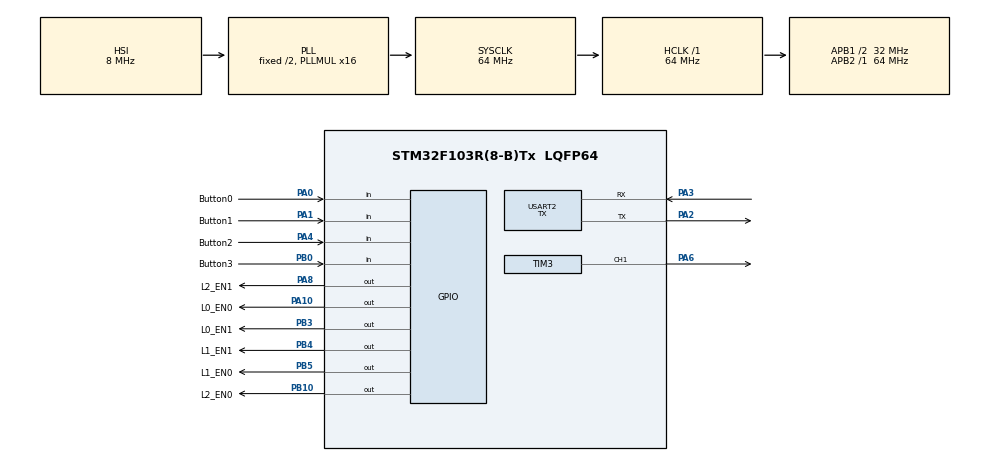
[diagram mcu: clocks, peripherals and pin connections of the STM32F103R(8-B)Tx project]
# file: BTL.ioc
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Mcu.Family=STM32F1
Mcu.Name=STM32F103R(8-B)Tx
Mcu.Package=LQFP64
NVIC.PriorityGroup=NVIC_PRIORITYGROUP_4
NVIC.TIM2_IRQn=true\:0\:0\:false\:false\:true\:true\:true\:true
PA0-WKUP.GPIO_Label=Button0
PA0-WKUP.GPIO_PuPd=GPIO_PULLUP
PA0-WKUP.Signal=GPIO_Input
PA1.GPIO_Label=Button1
PA1.GPIO_PuPd=GPIO_PULLUP
PA1.Signal=GPIO_Input
PA10.GPIO_Label=L0_EN0
PA10.Signal=GPIO_Output
PA13.Mode=Serial_Wire
PA13.Signal=SYS_JTMS-SWDIO
PA14.Mode=Serial_Wire
PA14.Signal=SYS_JTCK-SWCLK
PA2.Mode=Asynchronous
PA2.Signal=USART2_TX
PA3.Mode=Asynchronous
PA3.Signal=USART2_RX
PA4.GPIO_Label=Button2
PA4.GPIO_PuPd=GPIO_PULLUP
PA4.Signal=GPIO_Input
PA6.Signal=S_TIM3_CH1
PA8.GPIO_Label=L2_EN1
PA8.Signal=GPIO_Output
PB0.GPIO_Label=Button3
PB0.GPIO_PuPd=GPIO_PULLUP
PB0.Signal=GPIO_Input
PB10.GPIO_Label=L2_EN0
PB10.Signal=GPIO_Output
PB3.GPIO_Label=L0_EN1
PB3.Signal=GPIO_Output
PB4.GPIO_Label=L1_EN1
PB4.Signal=GPIO_Output
PB5.GPIO_Label=L1_EN0
PB5.Signal=GPIO_Output
ProjectManager.HeapSize=0x200
ProjectManager.StackSize=0x400
ProjectManager.TargetToolchain=STM32CubeIDE
RCC.AHBFreq_Value=64000000
RCC.APB1CLKDivider=RCC_HCLK_DIV2
RCC.APB1Freq_Value=32000000
RCC.APB1TimFreq_Value=64000000
RCC.APB2Freq_Value=64000000
RCC.APB2TimFreq_Value=64000000
RCC.HCLKFreq_Value=64000000
RCC.PLLMUL=RCC_PLL_MUL16
RCC.SYSCLKFreq_VALUE=64000000
RCC.SYSCLKSource=RCC_SYSCLKSOURCE_PLLCLK
RCC.USBFreq_Value=64000000
SH.S_TIM3_CH1.0=TIM3_CH1,PWM Generation1 CH1
TIM2.Period=9999
TIM2.Prescaler=63
TIM3.Channel-PWM\ Generation1\ CH1=TIM_CHANNEL_1
TIM3.OC1Preload_PWM=ENABLE
TIM3.Period=4095
TIM3.Prescaler=63
USART2.Mode=MODE_TX
USART2.VirtualMode=VM_ASYNC
VP_TIM2_VS_ClockSourceINT.Mode=Internal
VP_TIM3_VS_ClockSourceINT.Mode=Internal
board=custom

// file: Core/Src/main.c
/* USER CODE BEGIN Header */
/**
 ******************************************************************************
 * @file           : main.c
 * @brief          : Main program body
 ******************************************************************************
 * @attention
 *
 * <h2><center>&copy; Copyright (c) 2022 STMicroelectronics.
 * All rights reserved.</center></h2>
 *
 * This software component is licensed by ST under BSD 3-Clause license,
 * the "License"; You may not use this file except in compliance with the
 * License. You may obtain a copy of the License at:
 *                        opensource.org/licenses/BSD-3-Clause
 *
 ******************************************************************************
 */
/* USER CODE END Header */
#include "main.h"

/* USER CODE BEGIN Includes */
#include "global.h"
#include "fsm_automatic.h"
#include "fsm_manual.h"
#include "pedestrian.h"
/* USER CODE END Includes */

TIM_HandleTypeDef htim2;
TIM_HandleTypeDef htim3;

UART_HandleTypeDef huart2;

void SystemClock_Config(void);
static void MX_GPIO_Init(void);
static void MX_TIM2_Init(void);
static void MX_USART2_UART_Init(void);
static void MX_TIM3_Init(void);

/* USER CODE BEGIN 0 */

//UART !7SEG:XX#

void testIO() {
	for (int i = 0; i < 4; i++) {
//		if (isButtonPressed(i)) {
//			HAL_GPIO_TogglePin(L2_EN1_GPIO_Port, L2_EN1_Pin);
//		}
		if(isButtonPressed1s(i)){
			HAL_GPIO_TogglePin(L2_EN0_GPIO_Port, L2_EN0_Pin);
		}
	}
}
/* USER CODE END 0 */

int main(void)
{

  /* MCU Configuration--------------------------------------------------------*/

  /* Reset of all peripherals, Initializes the Flash interface and the Systick. */
  HAL_Init();

  /* Configure the system clock */
  SystemClock_Config();

  /* Initialize all configured peripherals */
  MX_GPIO_Init();
  MX_TIM2_Init();
  MX_USART2_UART_Init();
  MX_TIM3_Init();
  /* USER CODE BEGIN 2 */
  HAL_TIM_Base_Start_IT(&htim2);
  HAL_TIM_PWM_Start(&htim3, TIM_CHANNEL_1);
  /* USER CODE END 2 */

  /* Infinite loop */
  /* USER CODE BEGIN WHILE */
  setTimer1(50);
	while (1) {
		fsm1_automatic_run();
		fsm2_automatic_run();
		fsm_modify_timer_control();
		fsm_pedestrian();
    /* USER CODE END WHILE */

	}
}

void SystemClock_Config(void)
{
  RCC_OscInitTypeDef RCC_OscInitStruct = {0};
  RCC_ClkInitTypeDef RCC_ClkInitStruct = {0};

  /** Initializes the RCC Oscillators according to the specified parameters
  * in the RCC_OscInitTypeDef structure.
  */
  RCC_OscInitStruct.OscillatorType = RCC_OSCILLATORTYPE_HSI;
  RCC_OscInitStruct.HSIState = RCC_HSI_ON;
  RCC_OscInitStruct.HSICalibrationValue = RCC_HSICALIBRATION_DEFAULT;
  RCC_OscInitStruct.PLL.PLLState = RCC_PLL_ON;
  RCC_OscInitStruct.PLL.PLLSource = RCC_PLLSOURCE_HSI_DIV2;
  RCC_OscInitStruct.PLL.PLLMUL = RCC_PLL_MUL16;
  if (HAL_RCC_OscConfig(&RCC_OscInitStruct) != HAL_OK)
  {
    Error_Handler();
  }

  /** Initializes the CPU, AHB and APB buses clocks
  */
  RCC_ClkInitStruct.ClockType = RCC_CLOCKTYPE_HCLK|RCC_CLOCKTYPE_SYSCLK
                              |RCC_CLOCKTYPE_PCLK1|RCC_CLOCKTYPE_PCLK2;
  RCC_ClkInitStruct.SYSCLKSource = RCC_SYSCLKSOURCE_PLLCLK;
  RCC_ClkInitStruct.AHBCLKDivider = RCC_SYSCLK_DIV1;
  RCC_ClkInitStruct.APB1CLKDivider = RCC_HCLK_DIV2;
  RCC_ClkInitStruct.APB2CLKDivider = RCC_HCLK_DIV1;

  if (HAL_RCC_ClockConfig(&RCC_ClkInitStruct, FLASH_LATENCY_2) != HAL_OK)
  {
    Error_Handler();
  }
}

static void MX_TIM2_Init(void)
{

  TIM_ClockConfigTypeDef sClockSourceConfig = {0};
  TIM_MasterConfigTypeDef sMasterConfig = {0};

  htim2.Instance = TIM2;
  htim2.Init.Prescaler = 63;
  htim2.Init.CounterMode = TIM_COUNTERMODE_UP;
  htim2.Init.Period = 9999;
  htim2.Init.ClockDivision = TIM_CLOCKDIVISION_DIV1;
  htim2.Init.AutoReloadPreload = TIM_AUTORELOAD_PRELOAD_DISABLE;
  if (HAL_TIM_Base_Init(&htim2) != HAL_OK)
  {
    Error_Handler();
  }
  sClockSourceConfig.ClockSource = TIM_CLOCKSOURCE_INTERNAL;
  if (HAL_TIM_ConfigClockSource(&htim2, &sClockSourceConfig) != HAL_OK)
  {
    Error_Handler();
  }
  sMasterConfig.MasterOutputTrigger = TIM_TRGO_RESET;
  sMasterConfig.MasterSlaveMode = TIM_MASTERSLAVEMODE_DISABLE;
  if (HAL_TIMEx_MasterConfigSynchronization(&htim2, &sMasterConfig) != HAL_OK)
  {
    Error_Handler();
  }

}

static void MX_TIM3_Init(void)
{

  TIM_ClockConfigTypeDef sClockSourceConfig = {0};
  TIM_MasterConfigTypeDef sMasterConfig = {0};
  TIM_OC_InitTypeDef sConfigOC = {0};

  htim3.Instance = TIM3;
  htim3.Init.Prescaler = 63;
  htim3.Init.CounterMode = TIM_COUNTERMODE_UP;
  htim3.Init.Period = 4095;
  htim3.Init.ClockDivision = TIM_CLOCKDIVISION_DIV1;
  htim3.Init.AutoReloadPreload = TIM_AUTORELOAD_PRELOAD_DISABLE;
  if (HAL_TIM_Base_Init(&htim3) != HAL_OK)
  {
    Error_Handler();
  }
  sClockSourceConfig.ClockSource = TIM_CLOCKSOURCE_INTERNAL;
  if (HAL_TIM_ConfigClockSource(&htim3, &sClockSourceConfig) != HAL_OK)
  {
    Error_Handler();
  }
  if (HAL_TIM_PWM_Init(&htim3) != HAL_OK)
  {
    Error_Handler();
  }
  sMasterConfig.MasterOutputTrigger = TIM_TRGO_RESET;
  sMasterConfig.MasterSlaveMode = TIM_MASTERSLAVEMODE_DISABLE;
  if (HAL_TIMEx_MasterConfigSynchronization(&htim3, &sMasterConfig) != HAL_OK)
  {
    Error_Handler();
  }
  sConfigOC.OCMode = TIM_OCMODE_PWM1;
  sConfigOC.Pulse = 0;
  sConfigOC.OCPolarity = TIM_OCPOLARITY_HIGH;
  sConfigOC.OCFastMode = TIM_OCFAST_DISABLE;
  if (HAL_TIM_PWM_ConfigChannel(&htim3, &sConfigOC, TIM_CHANNEL_1) != HAL_OK)
  {
    Error_Handler();
  }
  HAL_TIM_MspPostInit(&htim3);

}

static void MX_USART2_UART_Init(void)
{

  huart2.Instance = USART2;
  huart2.Init.BaudRate = 115200;
  huart2.Init.WordLength = UART_WORDLENGTH_8B;
  huart2.Init.StopBits = UART_STOPBITS_1;
  huart2.Init.Parity = UART_PARITY_NONE;
  huart2.Init.Mode = UART_MODE_TX;
  huart2.Init.HwFlowCtl = UART_HWCONTROL_NONE;
  huart2.Init.OverSampling = UART_OVERSAMPLING_16;
  if (HAL_UART_Init(&huart2) != HAL_OK)
  {
    Error_Handler();
  }

}

static void MX_GPIO_Init(void)
{
  GPIO_InitTypeDef GPIO_InitStruct = {0};

  /* GPIO Ports Clock Enable */
  __HAL_RCC_GPIOA_CLK_ENABLE();
  __HAL_RCC_GPIOB_CLK_ENABLE();

  /*Configure GPIO pin Output Level */
  HAL_GPIO_WritePin(GPIOB, L2_EN0_Pin|L0_EN1_Pin|L1_EN1_Pin|L1_EN0_Pin, GPIO_PIN_RESET);

  /*Configure GPIO pin Output Level */
  HAL_GPIO_WritePin(GPIOA, L2_EN1_Pin|L0_EN0_Pin, GPIO_PIN_RESET);

  /*Configure GPIO pins : Button0_Pin Button1_Pin Button2_Pin */
  GPIO_InitStruct.Pin = Button0_Pin|Button1_Pin|Button2_Pin;
  GPIO_InitStruct.Mode = GPIO_MODE_INPUT;
  GPIO_InitStruct.Pull = GPIO_PULLUP;
  HAL_GPIO_Init(GPIOA, &GPIO_InitStruct);

  /*Configure GPIO pin : Button3_Pin */
  GPIO_InitStruct.Pin = Button3_Pin;
  GPIO_InitStruct.Mode = GPIO_MODE_INPUT;
  GPIO_InitStruct.Pull = GPIO_PULLUP;
  HAL_GPIO_Init(Button3_GPIO_Port, &GPIO_InitStruct);

  /*Configure GPIO pins : L2_EN0_Pin L0_EN1_Pin L1_EN1_Pin L1_EN0_Pin */
  GPIO_InitStruct.Pin = L2_EN0_Pin|L0_EN1_Pin|L1_EN1_Pin|L1_EN0_Pin;
  GPIO_InitStruct.Mode = GPIO_MODE_OUTPUT_PP;
  GPIO_InitStruct.Pull = GPIO_NOPULL;
  GPIO_InitStruct.Speed = GPIO_SPEED_FREQ_LOW;
  HAL_GPIO_Init(GPIOB, &GPIO_InitStruct);

  /*Configure GPIO pins : L2_EN1_Pin L0_EN0_Pin */
  GPIO_InitStruct.Pin = L2_EN1_Pin|L0_EN0_Pin;
  GPIO_InitStruct.Mode = GPIO_MODE_OUTPUT_PP;
  GPIO_InitStruct.Pull = GPIO_NOPULL;
  GPIO_InitStruct.Speed = GPIO_SPEED_FREQ_LOW;
  HAL_GPIO_Init(GPIOA, &GPIO_InitStruct);

}

/* USER CODE BEGIN 4 */
void HAL_TIM_PeriodElapsedCallback(TIM_HandleTypeDef *htim) {
	timerRun();
	button_reading();
}
/* USER CODE END 4 */

void Error_Handler(void)
{
	__disable_irq();
	while (1) {
	}
}
